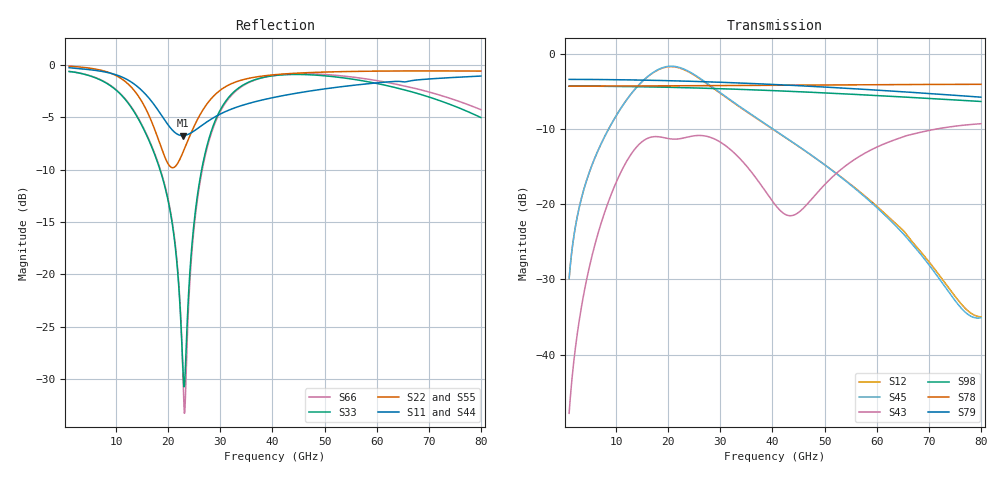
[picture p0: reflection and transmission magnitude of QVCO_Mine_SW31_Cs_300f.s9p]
! Touchstone Ver. 1.0
! Number of ports is 9
# Hz	S	RI	R	50.000000
! SCATTERING PARAMETERS  :
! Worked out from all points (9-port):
!   1001 points, 1 GHz to 80 GHz, reference 50 ohm
!   strongest paths, dB at 1 GHz, 20.75 GHz, 40.5 GHz, 60.25 GHz, 80 GHz:
!     S79: -3.4, -3.6, -4.1, -4.8, -5.8
!     S78: -4.3, -4.2, -4.2, -4.1, -4.0
!     S98: -4.3, -4.4, -4.9, -5.5, -6.3
!     S43: -47.8, -11.3, -20.0, -12.3, -9.3
!     S45: -29.9, -1.6, -10.1, -20.6, -35.1
!     S12: -29.9, -1.7, -10.2, -20.4, -35.0
!   lowest |S11| = -6.7 dB at 22.8 GHz (marker M1), VSWR 2.70, Z = 37 + j42.7 ohm
!   |S11| at or under -10 dB: nowhere
